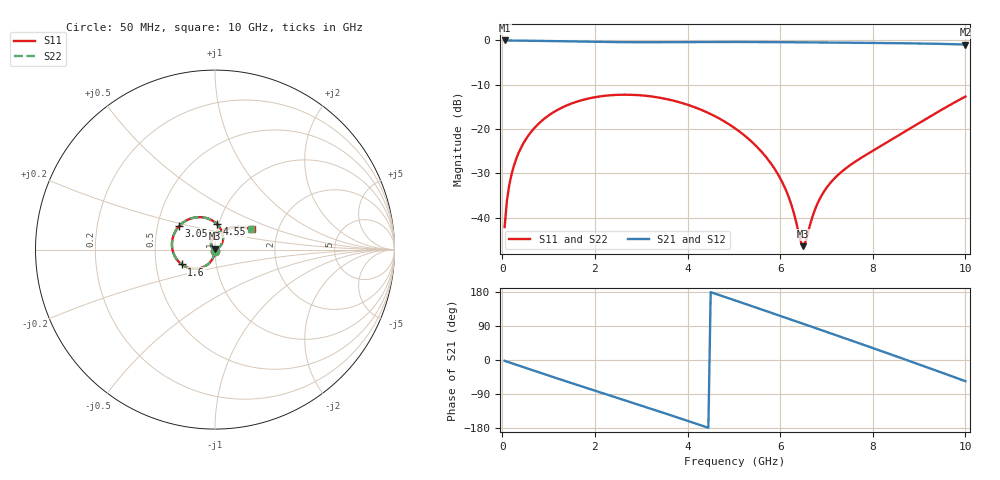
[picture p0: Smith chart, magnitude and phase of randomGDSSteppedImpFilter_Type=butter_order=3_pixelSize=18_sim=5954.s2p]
! freq	dB(S11)	phase(S11)	dB(S12)	phase(S12)
!  dB(S21)	phase(S21)	dB(S22)	phase(S22)
!S-par simulation data
#  GHz  S  DB  R 50
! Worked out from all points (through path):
!   200 points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, 50 MHz to 10 GHz, reference 50 ohm
!   highest |S21| = 0.00 dB at 50 MHz (marker M1); lowest = -0.9 dB at 10 GHz (marker M2)
!   group delay of S21, straight-line fit = 115 ps
!   lowest |S11| = -46.4 dB at 6.5 GHz (marker M3), VSWR 1.01, Z = 50 + j0.477 ohm
!   |S11| at or under -10 dB: start of sweep to end of sweep
!   |S22| runs from -46.7 to -12.2 dB; largest |S21 - S12| = 0
!   S11 on the Smith chart (normalised r, x): 50 MHz: 1.00, -0.02; 1.6 GHz: 0.68, -0.12; 3.05 GHz: 0.65, +0.18; 4.55 GHz: 0.98, +0.29; 10 GHz: 1.46, +0.35
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0.05  -42.12 -91.7  -0.00 -2.1  -0.00 -2.1  -42.12 -91.7
0.1  -36.14 -94.0  -0.01 -4.2  -0.01 -4.2  -36.14 -94.0
0.2  -30.19 -98.5  -0.02 -8.3  -0.02 -8.3  -30.19 -98.5
0.45  -23.31 -109.2  -0.04 -18.6  -0.04 -18.6  -23.31 -109.2
0.9  -17.72 -127.8  -0.12 -37.0  -0.12 -37.0  -17.72 -127.8
1.6  -13.85 -156.0  -0.25 -65.1  -0.25 -65.1  -13.85 -156.0
1.75  -13.39 -162.0  -0.28 -71.1  -0.28 -71.1  -13.39 -162.0
2.4  -12.32 172.3  -0.37 -96.7  -0.37 -96.7  -12.32 172.3
3.05  -12.43 146.6  -0.40 -122.3  -0.40 -122.3  -12.43 146.6
3.4  -12.93 132.7  -0.40 -136.3  -0.40 -136.3  -12.93 132.7
4  -14.51 108.5  -0.37 -160.4  -0.37 -160.4  -14.51 108.6
4.55  -16.87 86.0  -0.35 177.0  -0.35 177.0  -16.87 86.1
5.05  -20.01 65.5  -0.34 156.3  -0.34 156.3  -20.01 65.6
5.95  -30.15 31.9  -0.38 118.6  -0.38 118.6  -30.15 32.0
6.2  -35.78 28.9  -0.40 108.1  -0.40 108.1  -35.80 28.7
6.5  -46.42 89.8  -0.43 95.4  -0.43 95.4  -46.68 90.0
6.7  -39.69 141.7  -0.44 87.0  -0.44 87.0  -39.77 142.8
7.2  -30.84 136.1  -0.49 65.8  -0.49 65.8  -30.87 137.0
7.8  -26.16 112.9  -0.54 40.2  -0.54 40.2  -26.19 113.7
8.35  -22.74 91.4  -0.60 16.5  -0.60 16.5  -22.76 92.2
9.15  -17.71 61.4  -0.71 -18.3  -0.71 -18.3  -17.72 62.0
10  -12.67 28.8  -0.93 -55.9  -0.93 -55.9  -12.67 29.3
